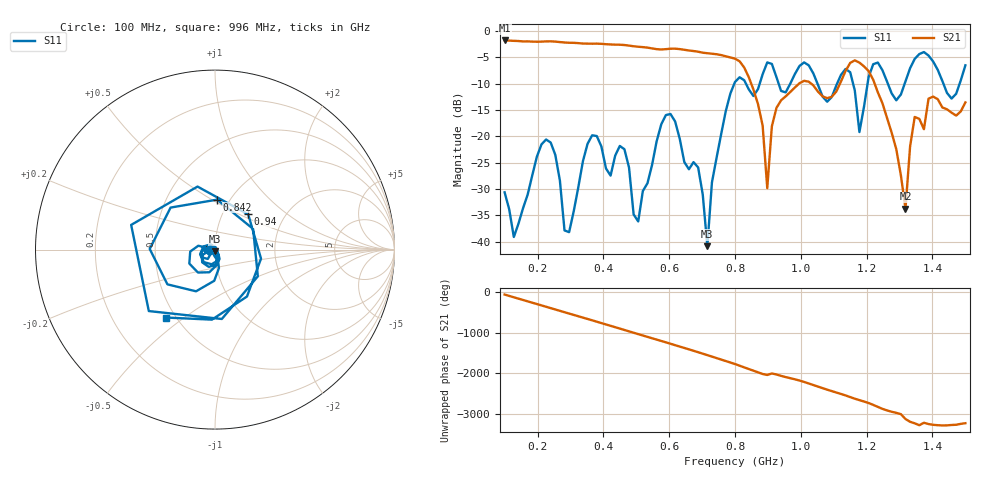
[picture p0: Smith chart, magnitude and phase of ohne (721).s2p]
! NanoVNA-App
! Date: 2025-09-25 14:26:25
! Start: 100MHz Stop: 1,5GHz Points: 101
! S-Parameter data: F S11 S21 S12 S22
# Hz S RI R 50
!  Frequency  S11_Real  S11_Imag  S21_Real  S21_Imag  S12_Real  S12_Imag  S22_Real  S22_Imag
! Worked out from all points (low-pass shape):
!   101 points, 100 MHz to 1.5 GHz, reference 50 ohm
!   highest |S21| = -1.79 dB at 100 MHz (marker M1); lowest = -33.7 dB at 1.318 GHz (marker M2)
!   |S21| within 3 dB of the highest: start of sweep to 771.5 MHz
!   lowest |S11| = -40.9 dB at 716 MHz (marker M3), VSWR 1.02, Z = 49.8 - j0.89 ohm
!   |S11| at or under -10 dB: start of sweep to 797.9 MHz; 833.2 MHz to 875.1 MHz (41.88 MHz wide, 4.9 % of centre); 1.051 GHz to 1.11 GHz (59.5 MHz wide, 5.51 % of centre) (the widest 3 of 7)
!   S12 and S22 are empty: the file has one direction only
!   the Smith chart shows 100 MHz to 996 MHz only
!   S11 on the Smith chart (normalised r, x): 100 MHz: 0.94, -0.01; 842 MHz: 0.88, +0.53; 940 MHz: 1.32, +0.56; 996 MHz: 0.44, -0.43
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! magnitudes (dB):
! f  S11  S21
! 100 MHz  -30.6  -1.8
! 128 MHz  -39.1  -1.9
! 226 MHz  -20.6  -2.0
! 296 MHz  -38.2  -2.2
! 338 MHz  -24.7  -2.4
! 464 MHz  -22.5  -2.7
! 506 MHz  -36.2  -3.0
! 576 MHz  -17.7  -3.5
! 688 MHz  -25.9  -3.9
! 716 MHz  -40.9  -4.2
! 800 MHz  -9.7  -5.3
! 842 MHz  -11.1  -8.8
! 898 MHz  -6.0  -29.8
! 940 MHz  -11.4  -13.2
! 996 MHz  -6.6  -9.9
! 1.038 GHz  -8.1  -10.3
! 1.178 GHz  -19.2  -6.0
! 1.22 GHz  -6.3  -9.3
! 1.276 GHz  -11.9  -19.3
! 1.318 GHz  -9.6  -33.7
! 1.346 GHz  -5.3  -16.3
! 1.5 GHz  -6.5  -13.6
